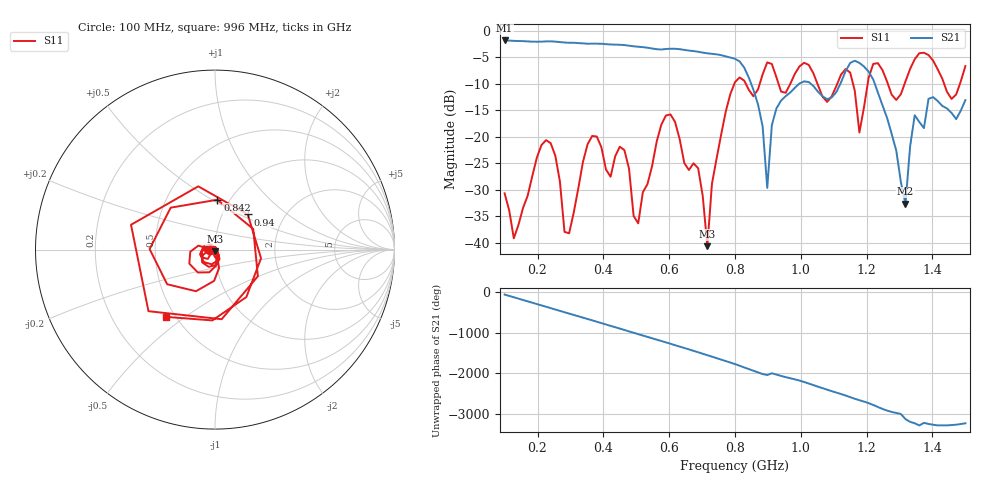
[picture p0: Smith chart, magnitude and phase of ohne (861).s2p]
! NanoVNA-App
! Date: 2025-09-25 14:27:30
! Start: 100MHz Stop: 1,5GHz Points: 101
! S-Parameter data: F S11 S21 S12 S22
# Hz S RI R 50
!  Frequency  S11_Real  S11_Imag  S21_Real  S21_Imag  S12_Real  S12_Imag  S22_Real  S22_Imag
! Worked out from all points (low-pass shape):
!   101 points, 100 MHz to 1.5 GHz, reference 50 ohm
!   highest |S21| = -1.79 dB at 100 MHz (marker M1); lowest = -32.6 dB at 1.318 GHz (marker M2)
!   |S21| within 3 dB of the highest: start of sweep to 771.5 MHz
!   lowest |S11| = -40.6 dB at 716 MHz (marker M3), VSWR 1.02, Z = 49.8 - j0.916 ohm
!   |S11| at or under -10 dB: start of sweep to 797.8 MHz; 833.1 MHz to 875 MHz (41.97 MHz wide, 4.91 % of centre); 1.051 GHz to 1.111 GHz (59.86 MHz wide, 5.54 % of centre) (the widest 3 of 7)
!   S12 and S22 are empty: the file has one direction only
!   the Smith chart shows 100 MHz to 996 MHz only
!   S11 on the Smith chart (normalised r, x): 100 MHz: 0.94, -0.01; 842 MHz: 0.88, +0.53; 940 MHz: 1.31, +0.55; 996 MHz: 0.45, -0.43
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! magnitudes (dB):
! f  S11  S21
! 100 MHz  -30.6  -1.8
! 128 MHz  -39.1  -1.9
! 226 MHz  -20.6  -2.0
! 296 MHz  -38.2  -2.2
! 338 MHz  -24.7  -2.3
! 464 MHz  -22.5  -2.7
! 506 MHz  -36.3  -3.0
! 576 MHz  -17.7  -3.5
! 688 MHz  -25.9  -3.9
! 716 MHz  -40.6  -4.2
! 800 MHz  -9.7  -5.2
! 842 MHz  -11.1  -8.8
! 898 MHz  -5.9  -29.6
! 940 MHz  -11.4  -13.1
! 996 MHz  -6.7  -9.9
! 1.038 GHz  -8.0  -10.4
! 1.178 GHz  -19.2  -6.0
! 1.22 GHz  -6.2  -9.2
! 1.276 GHz  -12.0  -19.4
! 1.318 GHz  -9.5  -32.6
! 1.346 GHz  -5.3  -15.9
! 1.5 GHz  -6.6  -13.0
